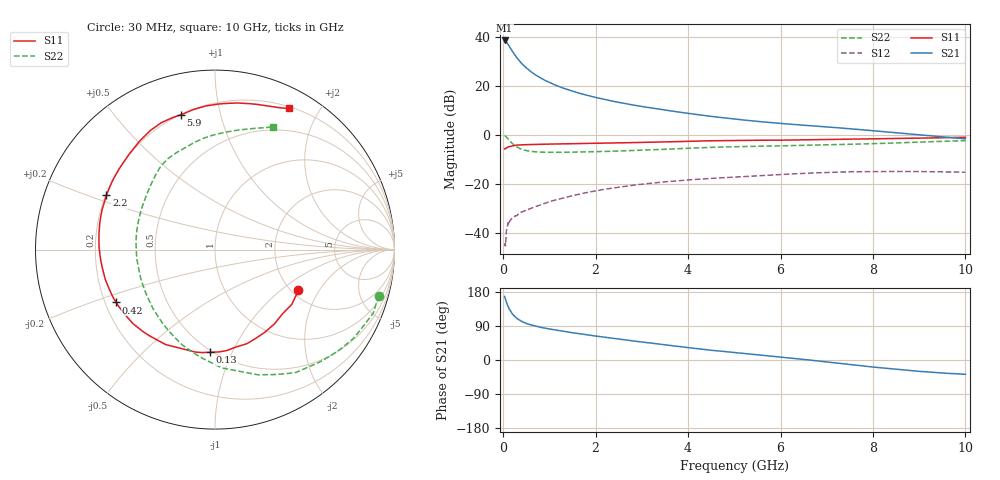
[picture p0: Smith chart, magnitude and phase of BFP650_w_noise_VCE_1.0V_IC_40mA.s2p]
! Infineon Technologies  Discrete & RF Semiconductors
! BFP650
! VCE =  1.0 V,  IC =  40 mA
! Common Emitter S-Parameters:  Jan 2016
# GHz  S  MA  R  50
!  f  S11  S21  S12  S22
! GHz  MAG  ANG  MAG  ANG  MAG  ANG  MAG  ANG
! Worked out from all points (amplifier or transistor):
!   229 points, 30 MHz to 10 GHz, reference 50 ohm
!   highest |S21| = 38.5 dB at 30 MHz (marker M1)
!   |S21| within 3 dB of that: start of sweep to 150.5 MHz
!   unconditionally stable (mu >= 1): 2.099 GHz to end of sweep
!   at 280 MHz: K = 0.40, MSG = 32.5 dB, |S12| = -33.1 dB
!   at 1.78 GHz: K = 0.98, MSG = 20.0 dB, |S12| = -23.7 dB
!   at 10 GHz: K = 1.04, MAG = 5.6 dB, |S12| = -15.3 dB
!   lowest NFmin = 0.87 dB at 450 MHz
!   S11 on the Smith chart (normalised r, x): 30 MHz: 2.17, -1.34; 130 MHz: 0.49, -0.83; 420 MHz: 0.24, -0.24; 2.2 GHz: 0.20, +0.23; 5.9 GHz: 0.20, +0.76; 10 GHz: 0.22, +1.64
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0.03  0.5175 -26.0  84.56 167.6  0.0053 106.8  0.9472 -15.7
0.04  0.5254 -35.4  83.9 163.5  0.006 79.8  0.9501 -21.8
0.05  0.5194 -43.9  81.64 159.3  0.0054 75.6  0.9305 -27.2
0.06  0.5301 -51.3  80.63 156.0  0.0079 64.7  0.9159 -32.8
0.08  0.5446 -65.6  76.24 149.0  0.012 61.8  0.8749 -42.5
0.1  0.5557 -78.3  71.63 142.8  0.0159 61.3  0.834 -51.9
0.13  0.5729 -92.8  64.28 134.8  0.0164 59.8  0.7726 -64.3
0.2  0.5962 -117.4  50.42 121.2  0.0204 48.8  0.6604 -86.7
0.26  0.6073 -130.8  41.67 113.4  0.0219 46.0  0.5913 -100.9
0.34  0.6177 -143.2  33.2 106.0  0.0249 45.5  0.5339 -115.8
0.42  0.6246 -151.9  27.43 100.7  0.0269 46.0  0.498 -127.2
0.6  0.6334 -164.7  19.42 92.5  0.0314 47.3  0.4592 -145.6
0.9  0.6415 -177.4  12.97 84.1  0.0396 49.6  0.4389 -164.1
1.22  0.6507 173.5  9.575 77.2  0.0488 49.1  0.4384 -176.8
1.7  0.6638 162.7  6.846 68.5  0.0628 47.7  0.4457 169.7
2.2  0.6771 153.3  5.246 60.2  0.0773 43.6  0.4566 158.6
3.4  0.7108 133.5  3.305 41.5  0.107 32.5  0.5001 137.2
5.1  0.7681 112.0  2.05 18.5  0.1384 16.1  0.5725 116.1
5.9  0.7751 104.2  1.736 8.9  0.1523 8.8  0.5914 106.5
6.8  0.7959 95.9  1.498 -2.3  0.1671 -0.6  0.6177 97.6
8.4  0.8363 76.4  1.121 -23.3  0.1779 -18.0  0.6767 79.4
10  0.8889 62.2  0.825 -37.7  0.1722 -30.1  0.7572 64.8
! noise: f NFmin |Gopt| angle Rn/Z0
0.45  0.87  0.11  163  1.38
0.9  0.89  0.36  -170  0.07
1.9  1.03  0.4  -155  0.06
2.4  1.11  0.4  -145  0.07
3.5  1.31  0.43  -122  0.13
